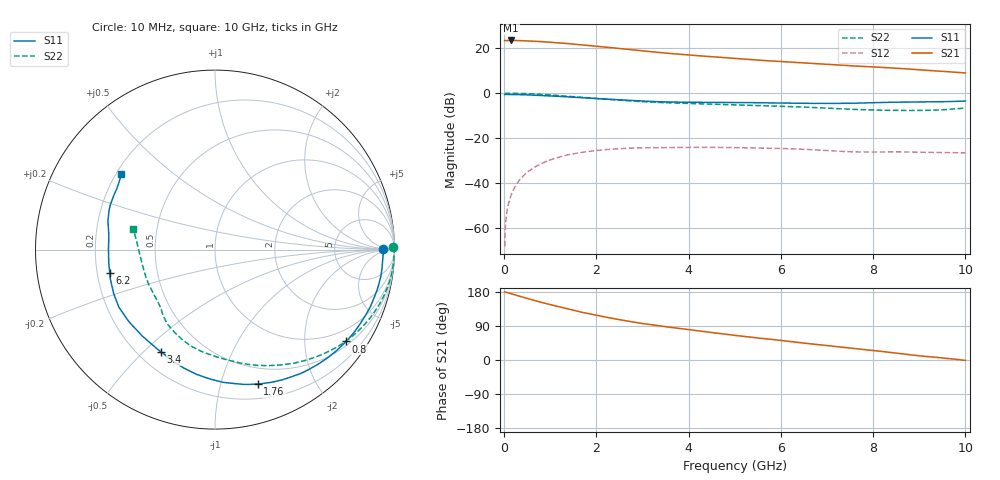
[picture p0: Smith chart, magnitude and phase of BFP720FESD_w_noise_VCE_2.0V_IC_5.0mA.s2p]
! Infineon Technologies  Discrete & RF Semiconductors
! BFP720FESD
! VCE =  2.0 V,  IC =  5.0 mA
! Common Emitter S-Parameters:  Jan 2016
# GHz  S  MA  R  50
!  f  S11  S21  S12  S22
! GHz  MAG  ANG  MAG  ANG  MAG  ANG  MAG  ANG
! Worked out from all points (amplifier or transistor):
!   233 points, 10 MHz to 10 GHz, reference 50 ohm
!   highest |S21| = 23.4 dB at 150 MHz (marker M1)
!   |S21| within 3 dB of that: start of sweep to 2.218 GHz
!   unconditionally stable (mu >= 1): start of sweep to 11.06 MHz; 7.154 GHz to end of sweep
!   at 200 MHz: K = 0.02, MSG = 33.2 dB, |S12| = -43.0 dB
!   at 1.74 GHz: K = 0.19, MSG = 23.7 dB, |S12| = -26.1 dB
!   at 10 GHz: K = 1.49, MAG = 13.6 dB, |S12| = -26.5 dB
!   lowest NFmin = 0.52 dB at 450 MHz
!   S11 on the Smith chart (normalised r, x): 10 MHz: 30, +2; 800 MHz: 0.61, -3.06; 1.76 GHz: 0.34, -1.31; 3.4 GHz: 0.29, -0.56; 6.2 GHz: 0.25, -0.10; 10 GHz: 0.22, +0.34
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0.01  0.9357 0.3  14.77 179.7  0.0004 -8.2  0.991 0.7
0.015  0.9376 -0.3  14.75 179.6  0.0004 59.1  0.9943 0.1
0.025  0.9391 -1.0  14.72 179.2  0.001 87.1  0.9979 -0.7
0.055  0.9366 -2.4  14.72 178.0  0.0022 88.3  0.9984 -1.7
0.15  0.9365 -6.8  14.84 174.8  0.0054 85.2  0.9972 -4.7
0.44  0.923 -19.6  14.58 164.5  0.0154 77.7  0.9804 -13.6
0.6  0.9098 -26.5  14.34 158.8  0.0208 73.2  0.9651 -18.4
0.8  0.8926 -35.0  13.93 152.4  0.0271 67.7  0.9423 -24.3
1.22  0.8473 -52.2  13.04 139.3  0.0389 56.8  0.8828 -36.3
1.4  0.8257 -59.4  12.61 133.9  0.0431 52.2  0.8542 -41.2
1.68  0.7944 -69.6  11.89 126.1  0.0485 45.7  0.8107 -48.4
1.76  0.786 -72.3  11.66 124.1  0.0498 44.1  0.7991 -50.3
2.2  0.7411 -86.5  10.55 113.2  0.0558 35.5  0.738 -60.7
2.58  0.7033 -98.0  9.654 104.7  0.0592 28.9  0.6912 -69.0
3  0.6693 -109.2  8.727 96.2  0.0612 22.5  0.6483 -77.3
3.4  0.6441 -117.9  7.954 89.6  0.0618 18.2  0.6206 -83.1
4.4  0.6249 -138.0  6.573 74.0  0.0628 9.4  0.5756 -96.2
5.1  0.6217 -150.5  5.802 63.7  0.0618 3.9  0.5487 -105.3
6.2  0.6005 -167.7  4.917 48.9  0.0582 -2.8  0.503 -118.9
6.8  0.5936 -177.3  4.512 40.7  0.0546 -5.2  0.4758 -126.2
8.4  0.6296 159.6  3.638 19.5  0.0496 -1.5  0.4168 -152.7
10  0.6691 141.2  2.819 -1.1  0.0472 0.0  0.4691 165.8
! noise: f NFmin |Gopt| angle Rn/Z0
0.45  0.52  0.56  4  0.15
2.4  0.64  0.36  32  0.16
5.5  0.83  0.39  106  0.11
10  1.39  0.32  -163  0.09
